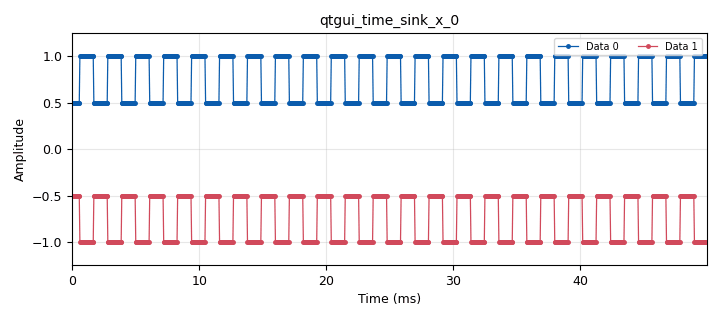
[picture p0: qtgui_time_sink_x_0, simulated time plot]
<?xml version='1.0' encoding='utf-8'?>
<?grc format='1' created='3.7.7'?>
<flow_graph>
<block>
<key>options</key>
<param><key>id</key><value>blocks_deinterleave</value></param>
<param><key>generate_options</key><value>qt_gui</value></param>
<param><key>category</key><value>Custom</value></param>
</block>
<block>
<key>variable</key>
<param><key>id</key><value>samp_rate</value></param>
<param><key>value</key><value>20000</value></param>
</block>
<block>
<key>variable</key>
<param><key>id</key><value>pktsize</value></param>
<param><key>value</key><value>22</value></param>
</block>
<block>
<key>blocks_throttle</key>
<param><key>id</key><value>blocks_throttle_0</value></param>
<param><key>type</key><value>float</value></param>
<param><key>samples_per_second</key><value>samp_rate</value></param>
</block>
<block>
<key>blocks_deinterleave</key>
<param><key>id</key><value>blocks_deinterleave_0</value></param>
<param><key>type</key><value>float</value></param>
<param><key>blocksize</key><value>pktsize</value></param>
</block>
<block>
<key>qtgui_time_sink_x</key>
<param><key>id</key><value>qtgui_time_sink_x_0</value></param>
<param><key>type</key><value>float</value></param>
<param><key>name</key><value></value></param>
<param><key>size</key><value>1000</value></param>
<param><key>srate</key><value>samp_rate</value></param>
<param><key>grid</key><value>True</value></param>
<param><key>ymin</key><value>-1.25</value></param>
<param><key>ymax</key><value>1.25</value></param>
<param><key>nconnections</key><value>2</value></param>
<param><key>label1</key><value></value></param>
<param><key>color1</key><value>"blue"</value></param>
<param><key>marker1</key><value>0</value></param>
<param><key>label2</key><value></value></param>
<param><key>color2</key><value>"red"</value></param>
<param><key>marker2</key><value>0</value></param>
</block>
<block>
<key>blocks_vector_source_x</key>
<param><key>id</key><value>blocks_vector_source_x_0</value></param>
<param><key>type</key><value>float</value></param>
<param><key>vector</key><value>pktsize*[1,] + pktsize*[-1,] + pktsize*[0.5,] + pktsize*[-0.5,]</value></param>
<param><key>repeat</key><value>True</value></param>
</block>
<connection><source_block_id>blocks_deinterleave_0</source_block_id><sink_block_id>qtgui_time_sink_x_0</sink_block_id><source_key>0</source_key><sink_key>0</sink_key></connection>
<connection><source_block_id>blocks_throttle_0</source_block_id><sink_block_id>blocks_deinterleave_0</sink_block_id><source_key>0</source_key><sink_key>0</sink_key></connection>
<connection><source_block_id>blocks_deinterleave_0</source_block_id><sink_block_id>qtgui_time_sink_x_0</sink_block_id><source_key>1</source_key><sink_key>1</sink_key></connection>
<connection><source_block_id>blocks_vector_source_x_0</source_block_id><sink_block_id>blocks_throttle_0</sink_block_id><source_key>0</source_key><sink_key>0</sink_key></connection>
</flow_graph>
